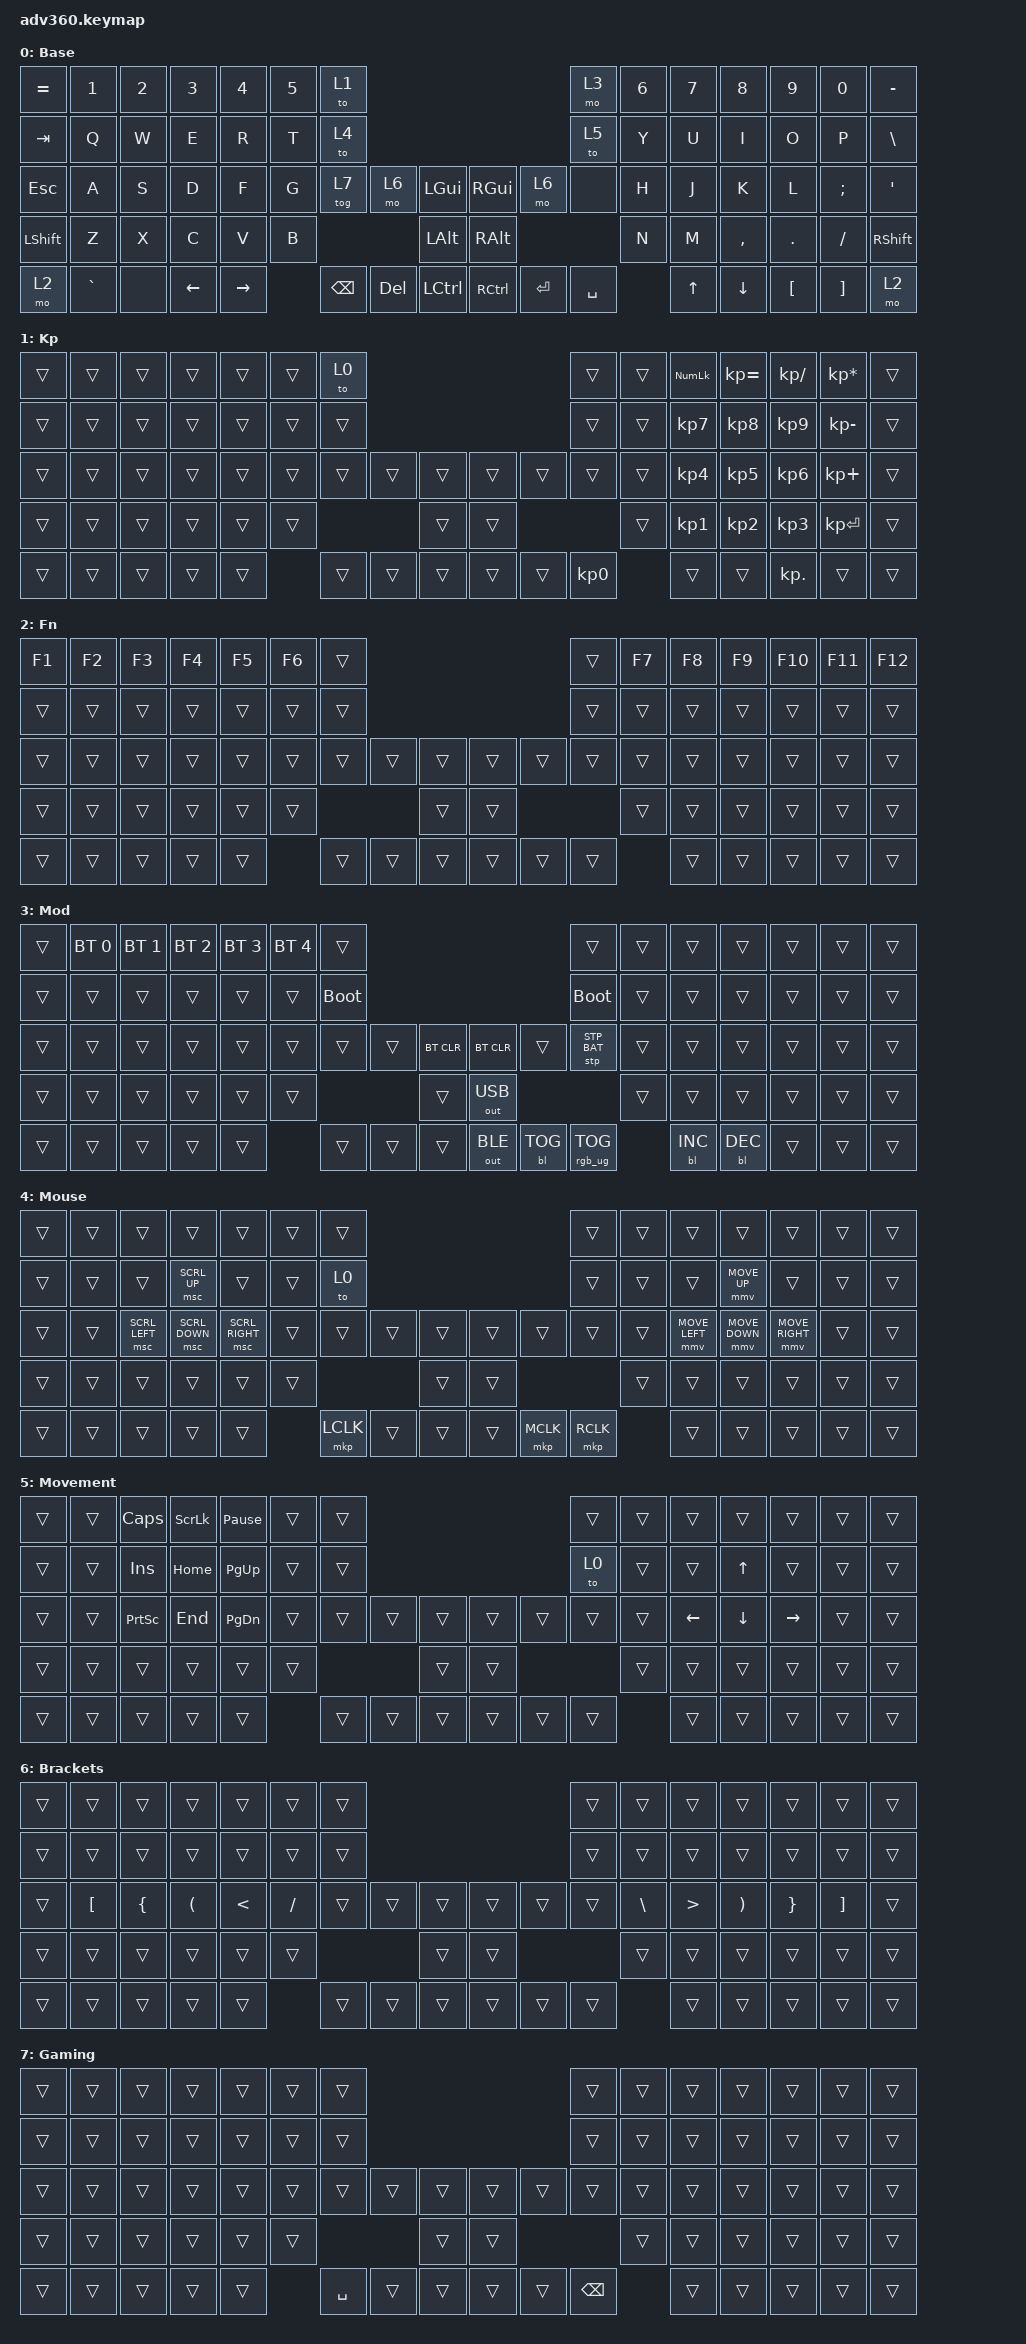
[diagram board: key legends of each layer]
#include <dt-bindings/zmk/stp.h>
#include <behaviors.dtsi>
#include <dt-bindings/zmk/backlight.h>
#include <dt-bindings/zmk/bt.h>
#include <dt-bindings/zmk/keys.h>
#include <dt-bindings/zmk/outputs.h>
#include <dt-bindings/zmk/pointing.h>
#include <dt-bindings/zmk/rgb.h>

/ {
    behaviors {
        #include "macros.dtsi"
      #include "version.dtsi"

        hm: homerow_mods {
            compatible = "zmk,behavior-hold-tap";
            label = "HOMEROW_MODS";
            #binding-cells = <2>;
            tapping-term-ms = <200>;
            quick_tap_ms = <175>;
            flavor = "tap-preferred";
            bindings = <&kp>, <&kp>;
        };
    };

    keymap {
        compatible = "zmk,keymap";

        default_layer {
            display-name = "Base";
            bindings = <
&kp EQUAL  &kp N1     &kp N2  &kp N3          &kp N4     &kp N5  &to 1                                                        &mo 3      &kp N6  &kp N7        &kp N8     &kp N9    &kp N0    &kp MINUS
&kp TAB    &kp Q      &kp W   &kp E           &kp R      &kp T   &to 4                                                        &to 5      &kp Y   &kp U         &kp I      &kp O     &kp P     &kp BSLH
&kp ESC    &kp A      &kp S   &kp D           &kp F      &kp G   &tog 7         &mo 6    &kp LGUI       &kp RGUI   &mo 6      &none      &kp H   &kp J         &kp K      &kp L     &kp SEMI  &kp SQT
&kp LSHFT  &kp Z      &kp X   &kp C           &kp V      &kp B                           &kp LALT       &kp RALT                         &kp N   &kp M         &kp COMMA  &kp DOT   &kp FSLH  &kp RSHFT
&mo 2      &kp GRAVE  &none   &kp LEFT_ARROW  &kp RIGHT          &kp BACKSPACE  &kp DEL  &kp LCTRL      &kp RCTRL  &kp ENTER  &kp SPACE          &kp UP_ARROW  &kp DOWN   &kp LBKT  &kp RBKT  &mo 2
            >;
        };

        keypad {
            display-name = "Kp";
            bindings = <
&trans  &trans  &trans  &trans  &trans  &trans  &to 0                                       &trans     &trans  &kp KP_NUM  &kp KP_EQUAL  &kp KP_DIVIDE  &kp KP_MULTIPLY  &trans
&trans  &trans  &trans  &trans  &trans  &trans  &trans                                      &trans     &trans  &kp KP_N7   &kp KP_N8     &kp KP_N9      &kp KP_MINUS     &trans
&trans  &trans  &trans  &trans  &trans  &trans  &trans  &trans  &trans      &trans  &trans  &trans     &trans  &kp KP_N4   &kp KP_N5     &kp KP_N6      &kp KP_PLUS      &trans
&trans  &trans  &trans  &trans  &trans  &trans                  &trans      &trans                     &trans  &kp KP_N1   &kp KP_N2     &kp KP_N3      &kp KP_ENTER     &trans
&trans  &trans  &trans  &trans  &trans          &trans  &trans  &trans      &trans  &trans  &kp KP_N0          &trans      &trans        &kp KP_DOT     &trans           &trans
            >;
        };

        fn {
            display-name = "Fn";
            bindings = <
&kp F1  &kp F2  &kp F3  &kp F4  &kp F5  &kp F6  &trans                                      &trans  &kp F7  &kp F8  &kp F9  &kp F10  &kp F11  &kp F12
&trans  &trans  &trans  &trans  &trans  &trans  &trans                                      &trans  &trans  &trans  &trans  &trans   &trans   &trans
&trans  &trans  &trans  &trans  &trans  &trans  &trans  &trans  &trans      &trans  &trans  &trans  &trans  &trans  &trans  &trans   &trans   &trans
&trans  &trans  &trans  &trans  &trans  &trans                  &trans      &trans                  &trans  &trans  &trans  &trans   &trans   &trans
&trans  &trans  &trans  &trans  &trans          &trans  &trans  &trans      &trans  &trans  &trans          &trans  &trans  &trans   &trans   &trans
            >;
        };

        BT {
            display-name = "Mod";
            bindings = <
&trans  &bt BT_SEL 0  &bt BT_SEL 1  &bt BT_SEL 2  &bt BT_SEL 3  &bt BT_SEL 4  &trans                                                         &trans           &trans  &trans      &trans      &trans  &trans  &trans
&trans  &trans        &trans        &trans        &trans        &trans        &bootloader                                                    &bootloader      &trans  &trans      &trans      &trans  &trans  &trans
&trans  &trans        &trans        &trans        &trans        &trans        &trans       &trans  &bt BT_CLR      &bt BT_CLR    &trans      &stp STP_BAT     &trans  &trans      &trans      &trans  &trans  &trans
&trans  &trans        &trans        &trans        &trans        &trans                             &trans          &out OUT_USB                               &trans  &trans      &trans      &trans  &trans  &trans
&trans  &trans        &trans        &trans        &trans                      &trans       &trans  &trans          &out OUT_BLE  &bl BL_TOG  &rgb_ug RGB_TOG          &bl BL_INC  &bl BL_DEC  &trans  &trans  &trans
            >;
        };

        Mouse {
            bindings = <
&trans  &trans  &trans          &trans          &trans           &trans  &trans                                            &trans     &trans  &trans          &trans          &trans           &trans  &trans
&trans  &trans  &trans          &msc SCRL_UP    &trans           &trans  &to 0                                             &trans     &trans  &trans          &mmv MOVE_UP    &trans           &trans  &trans
&trans  &trans  &msc SCRL_LEFT  &msc SCRL_DOWN  &msc SCRL_RIGHT  &trans  &trans     &trans  &trans      &trans  &trans     &trans     &trans  &mmv MOVE_LEFT  &mmv MOVE_DOWN  &mmv MOVE_RIGHT  &trans  &trans
&trans  &trans  &trans          &trans          &trans           &trans                     &trans      &trans                        &trans  &trans          &trans          &trans           &trans  &trans
&trans  &trans  &trans          &trans          &trans                   &mkp LCLK  &trans  &trans      &trans  &mkp MCLK  &mkp RCLK          &trans          &trans          &trans           &trans  &trans
            >;
        };

        Movement {
            bindings = <
&trans  &trans  &kp CAPS         &kp SCROLLLOCK  &kp PAUSE_BREAK  &trans  &trans                                      &trans  &trans  &trans    &trans    &trans     &trans  &trans
&trans  &trans  &kp INSERT       &kp HOME        &kp PG_UP        &trans  &trans                                      &to 0   &trans  &trans    &kp UP    &trans     &trans  &trans
&trans  &trans  &kp PRINTSCREEN  &kp END         &kp PAGE_DOWN    &trans  &trans  &trans  &trans      &trans  &trans  &trans  &trans  &kp LEFT  &kp DOWN  &kp RIGHT  &trans  &trans
&trans  &trans  &trans           &trans          &trans           &trans                  &trans      &trans                  &trans  &trans    &trans    &trans     &trans  &trans
&trans  &trans  &trans           &trans          &trans                   &trans  &trans  &trans      &trans  &trans  &trans          &trans    &trans    &trans     &trans  &trans
            >;
        };

        Brackets {
            bindings = <
&trans  &trans            &trans    &trans    &trans         &trans     &trans                                      &trans  &trans         &trans            &trans    &trans    &trans             &trans
&trans  &trans            &trans    &trans    &trans         &trans     &trans                                      &trans  &trans         &trans            &trans    &trans    &trans             &trans
&trans  &kp LEFT_BRACKET  &kp LBRC  &kp LPAR  &kp LESS_THAN  &kp SLASH  &trans  &trans  &trans      &trans  &trans  &trans  &kp BACKSLASH  &kp GREATER_THAN  &kp RPAR  &kp RBRC  &kp RIGHT_BRACKET  &trans
&trans  &trans            &trans    &trans    &trans         &trans                     &trans      &trans                  &trans         &trans            &trans    &trans    &trans             &trans
&trans  &trans            &trans    &trans    &trans                    &trans  &trans  &trans      &trans  &trans  &trans                 &trans            &trans    &trans    &trans             &trans
            >;
        };

        Gaming {
            bindings = <
&trans  &trans  &trans  &trans  &trans  &trans  &trans                                         &trans         &trans  &trans  &trans  &trans  &trans  &trans
&trans  &trans  &trans  &trans  &trans  &trans  &trans                                         &trans         &trans  &trans  &trans  &trans  &trans  &trans
&trans  &trans  &trans  &trans  &trans  &trans  &trans     &trans  &trans      &trans  &trans  &trans         &trans  &trans  &trans  &trans  &trans  &trans
&trans  &trans  &trans  &trans  &trans  &trans                     &trans      &trans                         &trans  &trans  &trans  &trans  &trans  &trans
&trans  &trans  &trans  &trans  &trans          &kp SPACE  &trans  &trans      &trans  &trans  &kp BACKSPACE          &trans  &trans  &trans  &trans  &trans
            >;
        };
    };
};
